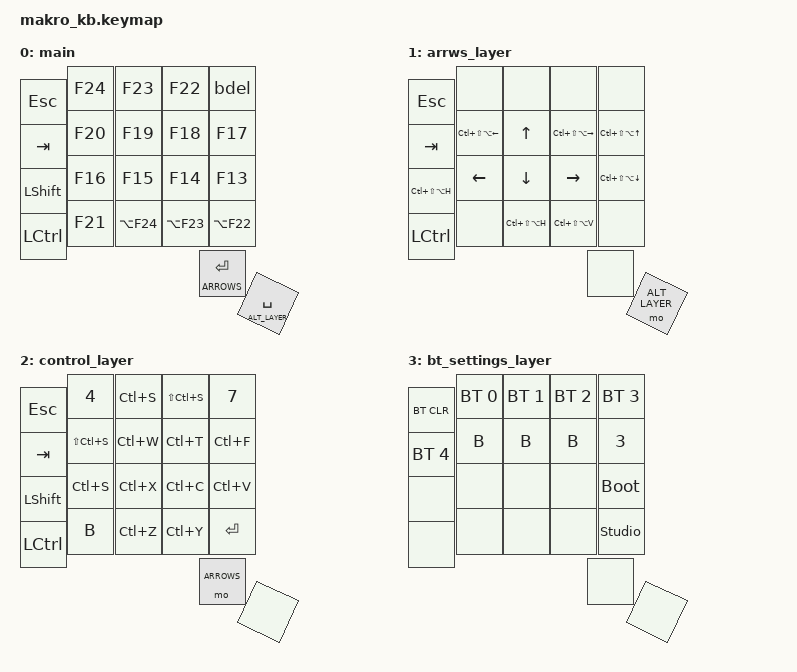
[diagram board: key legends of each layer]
/*
 * Copyright (c) 2021 Nick Winans
 *
 * SPDX-License-Identifier: MIT
 */

#include <behaviors.dtsi>
#include <dt-bindings/zmk/keys.h>
//#include <dt-bindings/zmk/rgb.h>
#include <dt-bindings/zmk/bt.h>

#define MAIN 			0
#define ARROWS	  		1
#define ALT_LAYER 		2
#define BT_SET  		3

/ {	

	conditional_layers {
        compatible = "zmk,conditional-layers";
        tri_layer {
            if-layers = <ARROWS ALT_LAYER>;
            then-layer = <BT_SET>;
        };
    };

	behaviors {
		bdel: backspace_del {
            compatible = "zmk,behavior-mod-morph";
            #binding-cells = <0>;
            bindings = <&kp DELETE>, <&kp BACKSPACE>;
            mods = <(MOD_LSFT|MOD_RSFT)>;
        };
    };

	keymap {
		compatible = "zmk,keymap";
		
		main {
			bindings = <

			&kp ESC 		&kp F24			 	&kp F23			 	&kp F22				&bdel	
			&kp TAB  		&kp F20			 	&kp F19			 	&kp F18		 		&kp F17
			&kp LSHFT  		&kp F16			 	&kp F15			 	&kp F14		 		&kp F13
			&kp LCTRL  		&kp F21			 	&kp LA(F24)		 	&kp LA(F23)		 	&kp LA(F22)
													  				&lt ARROWS ENTER	&lt ALT_LAYER SPACE	
	
			>;
		};

		arrws_layer {
			bindings = <
			
			&kp ESC				&none  					&none  				&none  					&none
			&kp TAB				&kp LC(LS(LA(LEFT)))  	&kp UP				&kp LC(LS(LA(RIGHT)))	&kp LC(LS(LA(UP)))
			&kp LC(LS(LA(H)))	&kp LEFT				&kp DOWN			&kp RIGHT				&kp LC(LS(LA(DOWN)))
			&kp LCTRL			&none					&kp LC(LS(LA(H)))   &kp LC(LS(LA(V)))		&none
																	  		&none					&mo ALT_LAYER

			>;
		};
		
		control_layer {
			bindings = <
			
			&kp ESC 		&kp 4			 	&kp LC(S)		 	&kp LS(LC(S)) 		&kp 7
			&kp TAB  		&kp LS(LC(S))	 	&kp LC(W)		 	&kp LC(T)	 		&kp LC(F)
			&kp LSHFT  		&kp LC(S)		 	&kp LC(X)		 	&kp LC(C) 			&kp LC(V)
			&kp LCTRL  		&kp B			 	&kp LC(Z)		 	&kp LC(Y)	 		&kp ENTER
														   			&mo	ARROWS			&none

			>;
		};

		bt_settings_layer {
			bindings = <
			
			&bt BT_CLR 		&bt BT_SEL 0	&bt BT_SEL 1		&bt BT_SEL 2	&bt BT_SEL 3 
			&bt BT_SEL 4 	&kp B 			&kp B 				&kp B 			&kp N3
			&none  			&none  			&none  				&none  			&bootloader
			&none  			&none  			&none  				&none  			&studio_unlock
														  		&none  			&none 	
	
			>;
		};

		extra1 {
            status = "reserved";
        };

        extra2 {
            status = "reserved";
        };
	};
};

&kscan {
     debounce-press-ms = <10>;  
     debounce-release-ms = <10>;
};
